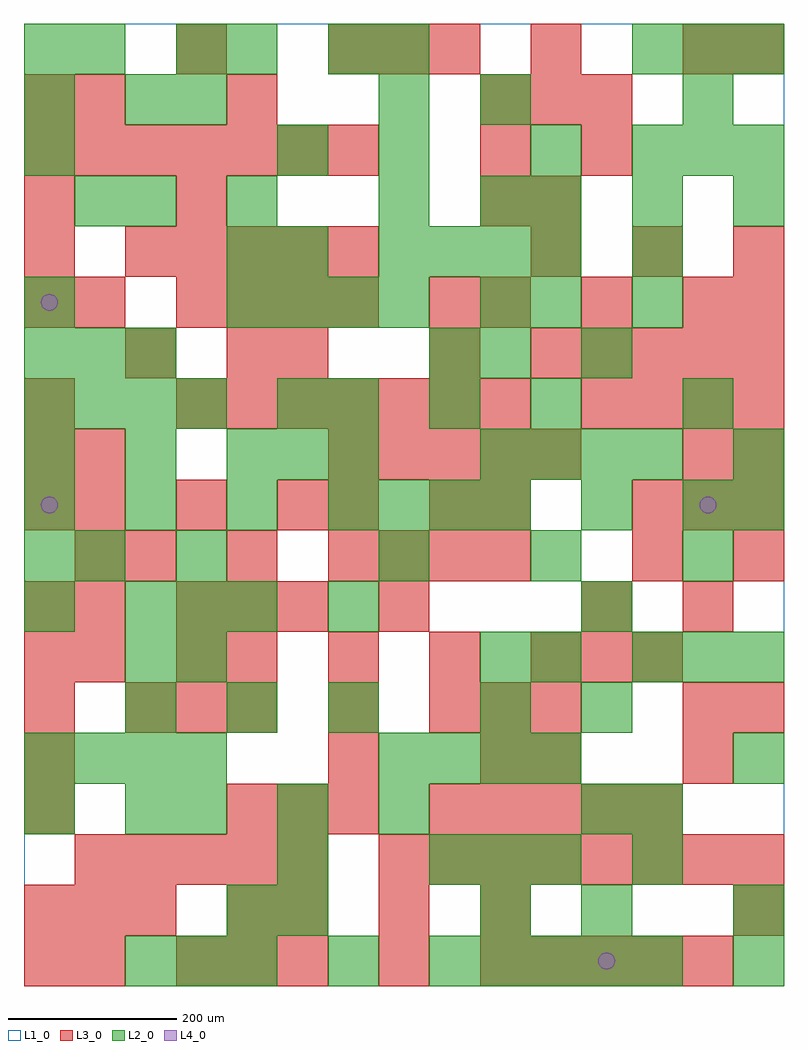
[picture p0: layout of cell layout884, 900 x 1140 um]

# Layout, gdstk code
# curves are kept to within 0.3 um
import gdstk
lib = gdstk.Library(unit=1e-6, precision=1e-09)
def R(c, l, rs):  # rectangles x0, y0, x1, y1
    for r in rs: c.add(gdstk.rectangle(r[:2], r[2:], *l))
def A(c, l, x, y, w, h, nx, ny, dx, dy):  # array of equal rectangles
    R(c, l, [(x+i*dx, y+j*dy, x+i*dx+w, y+j*dy+h) for i in range(nx) for j in range(ny)])
def P(c, l, *ps):  # polygons
    for p in ps: c.add(gdstk.Polygon(p, *l))
L1_0 = (1, 0)
L2_0 = (2, 0)
L3_0 = (3, 0)
L4_0 = (4, 0)

layout884 = lib.new_cell('layout884')
R(layout884, L1_0, [(0,0,900,1140)])
A(layout884, L2_0, 120, 0, 60, 60, 3, 2, 60, 420)
A(layout884, L2_0, 480, 0, 60, 60, 5, 1, 60, 0)
A(layout884, L2_0, 660, 60, 60, 60, 1, 5, 0, 120)
A(layout884, L2_0, 480, 120, 60, 60, 3, 1, 60, 0)
A(layout884, L2_0, 180, 180, 60, 60, 3, 1, 120, 0)
A(layout884, L2_0, 0, 240, 60, 60, 4, 2, 60, 420)
A(layout884, L2_0, 420, 240, 60, 60, 4, 2, 60, 600)
A(layout884, L2_0, 120, 300, 60, 60, 3, 1, 120, 0)
A(layout884, L2_0, 720, 360, 60, 60, 3, 2, 60, 600)
A(layout884, L2_0, 420, 480, 60, 60, 3, 1, 180, 0)
A(layout884, L2_0, 0, 540, 60, 60, 4, 1, 120, 0)
A(layout884, L2_0, 420, 540, 60, 60, 3, 1, 60, 0)
A(layout884, L2_0, 0, 600, 60, 60, 3, 1, 120, 0)
A(layout884, L2_0, 540, 600, 60, 60, 4, 1, 60, 0)
A(layout884, L2_0, 360, 660, 60, 60, 3, 1, 120, 0)
A(layout884, L2_0, 0, 720, 60, 60, 3, 1, 60, 0)
A(layout884, L2_0, 240, 780, 60, 60, 4, 1, 60, 0)
A(layout884, L2_0, 540, 780, 60, 60, 1, 3, 0, 120)
A(layout884, L2_0, 420, 900, 60, 60, 1, 4, 0, 60)
A(layout884, L2_0, 600, 900, 60, 60, 3, 1, 120, 0)
A(layout884, L2_0, 0, 960, 60, 60, 1, 3, 0, 60)
A(layout884, L2_0, 720, 1080, 60, 60, 3, 1, 60, 0)
R(layout884, L2_0, [(360,0,420,60), (840,0,900,60), (240,60,300,120), (300,60,360,120), (540,60,600,120), (840,60,900,120), (300,120,360,180), (720,120,780,180), (0,180,60,240), (120,180,180,240), (720,180,780,240), (840,240,900,300), (540,300,600,360), (120,360,180,420), (180,360,240,420), (540,360,600,420), (600,360,660,420), (0,420,60,480), (360,420,420,480), (0,480,60,540), (60,480,120,540), (180,480,240,540), (780,540,840,600), (840,540,900,600), (300,600,360,660), (360,600,420,660), (840,600,900,660), (300,660,360,720), (780,660,840,720), (480,720,540,780), (540,720,600,780), (660,720,720,780), (0,780,60,840), (600,780,660,840), (720,780,780,840), (240,840,300,900), (300,840,360,900), (720,840,780,900), (60,900,120,960), (120,900,180,960), (240,900,300,960), (300,960,360,1020), (600,960,660,1020), (120,1020,180,1080), (180,1020,240,1080), (780,1020,840,1080), (60,1080,120,1140), (180,1080,240,1140), (240,1080,300,1140), (360,1080,420,1140)])
A(layout884, L3_0, 180, 0, 60, 60, 3, 2, 60, 420)
A(layout884, L3_0, 540, 0, 60, 60, 5, 1, 60, 0)
A(layout884, L3_0, 0, 60, 60, 60, 3, 1, 60, 0)
A(layout884, L3_0, 300, 60, 60, 60, 3, 1, 120, 0)
A(layout884, L3_0, 60, 120, 60, 60, 5, 1, 60, 0)
A(layout884, L3_0, 420, 120, 60, 60, 8, 1, 60, 0)
A(layout884, L3_0, 0, 180, 60, 60, 1, 5, 0, 60)
A(layout884, L3_0, 240, 180, 60, 60, 3, 1, 60, 0)
A(layout884, L3_0, 480, 180, 60, 60, 5, 1, 60, 0)
A(layout884, L3_0, 120, 300, 60, 60, 3, 1, 60, 0)
A(layout884, L3_0, 480, 300, 60, 60, 3, 1, 60, 0)
A(layout884, L3_0, 60, 360, 60, 60, 1, 3, 0, 60)
A(layout884, L3_0, 240, 360, 60, 60, 4, 1, 120, 0)
A(layout884, L3_0, 120, 480, 60, 60, 3, 1, 120, 0)
A(layout884, L3_0, 420, 480, 60, 60, 3, 1, 60, 0)
A(layout884, L3_0, 0, 540, 60, 60, 1, 3, 0, 60)
A(layout884, L3_0, 60, 540, 60, 60, 3, 1, 120, 0)
A(layout884, L3_0, 720, 540, 60, 60, 3, 1, 60, 0)
A(layout884, L3_0, 360, 600, 60, 60, 5, 1, 60, 0)
A(layout884, L3_0, 180, 660, 60, 60, 7, 1, 60, 0)
A(layout884, L3_0, 660, 660, 60, 60, 4, 1, 60, 0)
A(layout884, L3_0, 600, 720, 60, 60, 5, 1, 60, 0)
A(layout884, L3_0, 0, 780, 60, 60, 1, 3, 0, 60)
A(layout884, L3_0, 180, 780, 60, 60, 4, 1, 60, 0)
A(layout884, L3_0, 540, 780, 60, 60, 3, 1, 120, 0)
A(layout884, L3_0, 120, 840, 60, 60, 5, 1, 60, 0)
A(layout884, L3_0, 600, 840, 60, 60, 3, 1, 120, 0)
A(layout884, L3_0, 0, 960, 60, 60, 7, 1, 60, 0)
A(layout884, L3_0, 540, 1020, 60, 60, 3, 1, 60, 0)
A(layout884, L3_0, 360, 1080, 60, 60, 3, 1, 60, 0)
R(layout884, L3_0, [(0,0,60,60), (60,0,120,60), (420,0,480,60), (240,60,300,120), (840,60,900,120), (360,240,420,300), (540,240,600,300), (600,240,660,300), (780,240,840,300), (360,300,420,360), (780,300,840,360), (840,300,900,360), (180,360,240,420), (660,360,720,420), (720,360,780,420), (420,420,480,480), (660,420,720,480), (780,420,840,480), (720,480,780,540), (840,480,900,540), (360,540,420,600), (480,540,540,600), (540,540,600,600), (60,600,120,660), (780,600,840,660), (840,600,900,660), (120,720,180,780), (240,720,300,780), (300,720,360,780), (480,720,540,780), (60,780,120,840), (480,780,540,840), (840,780,900,840), (180,900,240,960), (540,900,600,960), (600,900,660,960), (540,960,600,1020), (660,960,720,1020), (0,1020,60,1080), (60,1020,120,1080), (240,1020,300,1080), (180,1080,240,1140), (600,1080,660,1140), (780,1080,840,1140), (840,1080,900,1140)])
P(layout884, L4_0, [(40,570),(39.239,573.827),(37.071,577.071),(33.827,579.239),(30,580),(26.173,579.239),(22.929,577.071),(20.761,573.827),(20,570),(20.761,566.173),(22.929,562.929),(26.173,560.761),(30,560),(33.827,560.761),(37.071,562.929),(39.239,566.173)],
  [(40,810),(39.239,813.827),(37.071,817.071),(33.827,819.239),(30,820),(26.173,819.239),(22.929,817.071),(20.761,813.827),(20,810),(20.761,806.173),(22.929,802.929),(26.173,800.761),(30,800),(33.827,800.761),(37.071,802.929),(39.239,806.173)],
  [(700,30),(699.239,33.827),(697.071,37.071),(693.827,39.239),(690,40),(686.173,39.239),(682.929,37.071),(680.761,33.827),(680,30),(680.761,26.173),(682.929,22.929),(686.173,20.761),(690,20),(693.827,20.761),(697.071,22.929),(699.239,26.173)],
  [(820,570),(819.239,573.827),(817.071,577.071),(813.827,579.239),(810,580),(806.173,579.239),(802.929,577.071),(800.761,573.827),(800,570),(800.761,566.173),(802.929,562.929),(806.173,560.761),(810,560),(813.827,560.761),(817.071,562.929),(819.239,566.173)])

lib.write_gds('layout884.gds')
